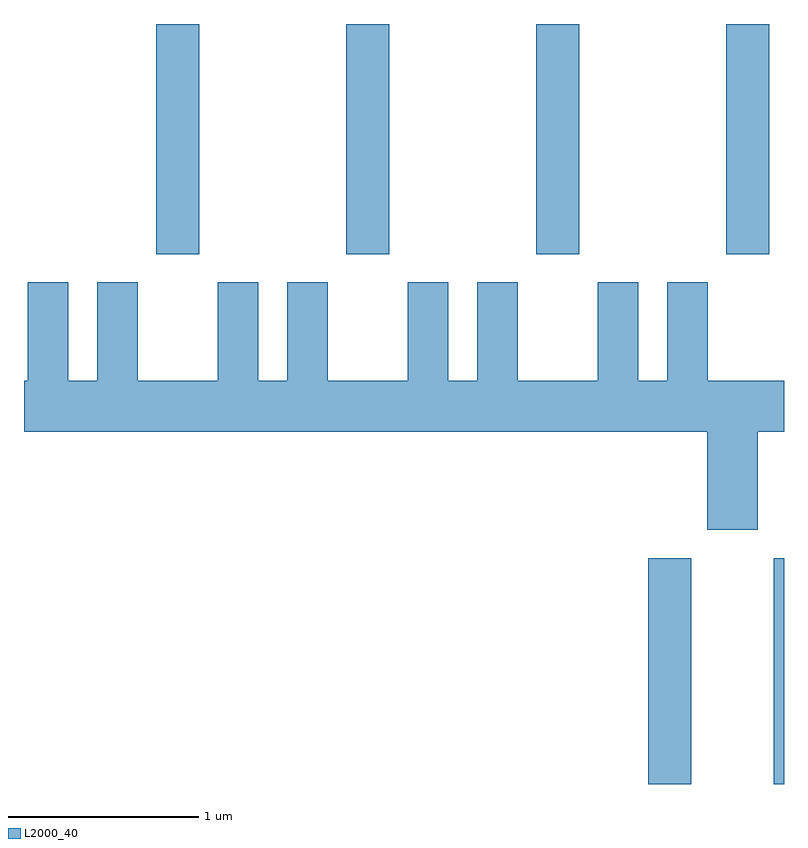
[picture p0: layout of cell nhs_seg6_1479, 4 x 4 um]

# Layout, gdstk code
import gdstk
lib = gdstk.Library(unit=1e-6, precision=1e-09)
def R(c, l, rs):  # rectangles x0, y0, x1, y1
    for r in rs: c.add(gdstk.rectangle(r[:2], r[2:], *l))
def A(c, l, x, y, w, h, nx, ny, dx, dy):  # array of equal rectangles
    R(c, l, [(x+i*dx, y+j*dy, x+i*dx+w, y+j*dy+h) for i in range(nx) for j in range(ny)])
def P(c, l, *ps):  # polygons
    for p in ps: c.add(gdstk.Polygon(p, *l))
L2000_40 = (2000, 40)

nhs_seg6_1479 = lib.new_cell('nhs_seg6_1479')
A(nhs_seg6_1479, L2000_40, 230.306, 1570.951, 0.228, 1.211, 4, 1, 1, 0)
R(nhs_seg6_1479, L2000_40, [(232.896,1568.162,233.124,1569.349), (233.556,1568.162,233.611,1569.349)])
P(nhs_seg6_1479, L2000_40, [(233.474,1570.016),(233.611,1570.016),(233.611,1570.284),(233.209,1570.284),(233.209,1570.804),(232.996,1570.804),(232.996,1570.284),(232.844,1570.284),(232.844,1570.804),(232.631,1570.804),(232.631,1570.284),(232.209,1570.284),(232.209,1570.804),(231.996,1570.804),(231.996,1570.284),(231.844,1570.284),(231.844,1570.804),(231.631,1570.804),(231.631,1570.284),(231.209,1570.284),(231.209,1570.804),(230.996,1570.804),(230.996,1570.284),(230.844,1570.284),(230.844,1570.804),(230.631,1570.804),(230.631,1570.284),(230.209,1570.284),(230.209,1570.804),(229.996,1570.804),(229.996,1570.284),(229.844,1570.284),(229.844,1570.804),(229.631,1570.804),(229.631,1570.284),(229.611,1570.284),(229.611,1570.016),(233.206,1570.016),(233.206,1569.501),(233.474,1569.501)])

lib.write_gds('nhs_seg6_1479.gds')
